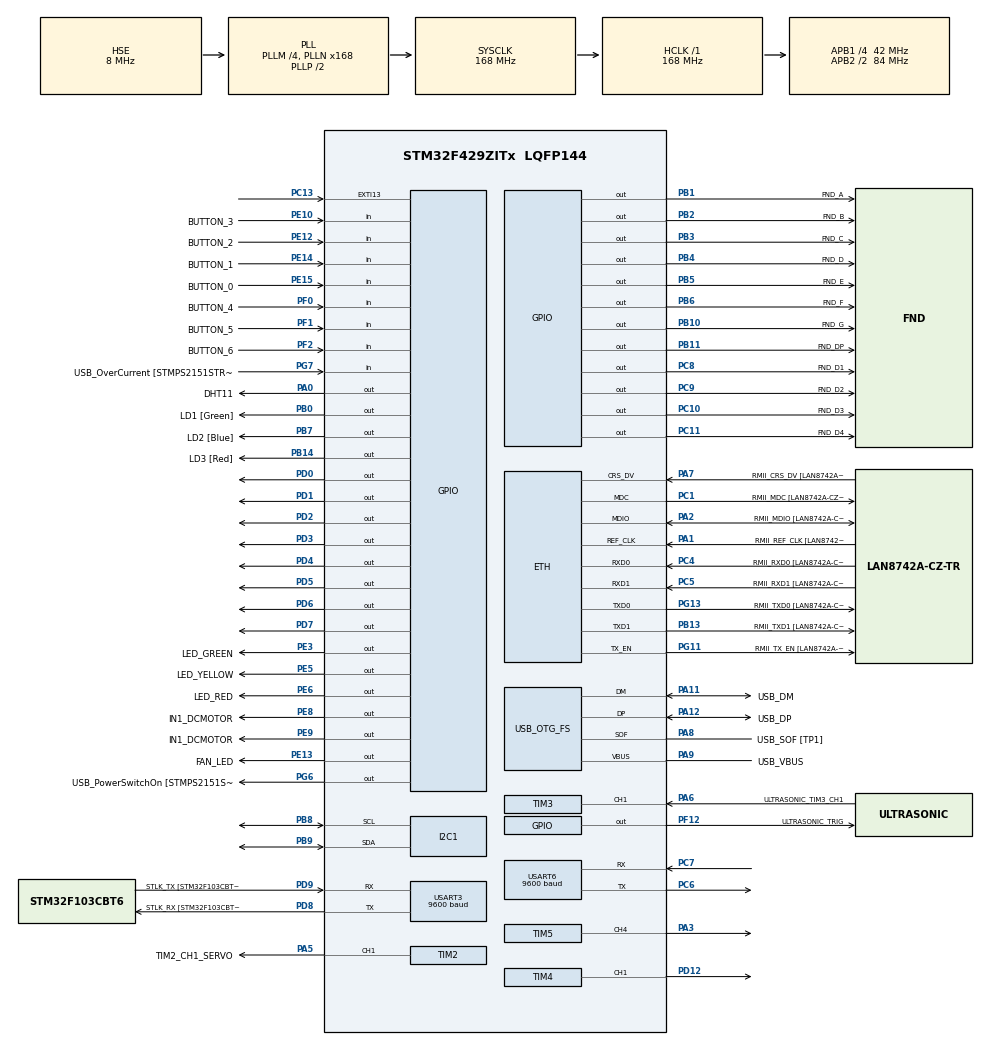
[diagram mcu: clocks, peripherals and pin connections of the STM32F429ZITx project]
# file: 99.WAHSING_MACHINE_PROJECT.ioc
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ETH.MediaInterface=HAL_ETH_RMII_MODE
Mcu.Family=STM32F4
Mcu.Name=STM32F429ZITx
Mcu.Package=LQFP144
NVIC.PriorityGroup=NVIC_PRIORITYGROUP_4
NVIC.TIM1_TRG_COM_TIM11_IRQn=true\:0\:0\:false\:false\:true\:true\:true\:true
NVIC.TIM1_UP_TIM10_IRQn=true\:0\:0\:false\:false\:true\:true\:true\:true
NVIC.TIM2_IRQn=true\:0\:0\:false\:false\:true\:true\:true\:true
NVIC.TIM3_IRQn=true\:0\:0\:false\:false\:true\:true\:true\:true
NVIC.TIM4_IRQn=true\:0\:0\:false\:false\:true\:true\:true\:true
NVIC.TIM5_IRQn=true\:0\:0\:false\:false\:true\:true\:true\:true
NVIC.TIM8_UP_TIM13_IRQn=true\:0\:0\:false\:false\:true\:true\:true\:true
NVIC.USART3_IRQn=true\:0\:0\:false\:false\:true\:true\:true\:true
NVIC.USART6_IRQn=true\:0\:0\:false\:false\:true\:true\:true\:true
PA0/WKUP.GPIO_Label=DHT11
PA0/WKUP.Signal=GPIO_Output
PA1.GPIO_Label=RMII_REF_CLK [LAN8742A-CZ-TR_REFCLK0]
PA1.Mode=RMII
PA1.Signal=ETH_REF_CLK
PA10.GPIO_Label=USB_ID
PA10.Signal=USB_OTG_FS_ID
PA11.GPIO_Label=USB_DM
PA11.Mode=Device_Only
PA11.Signal=USB_OTG_FS_DM
PA12.GPIO_Label=USB_DP
PA12.Mode=Device_Only
PA12.Signal=USB_OTG_FS_DP
PA13.GPIO_Label=TMS
PA13.Mode=Serial_Wire
PA13.Signal=SYS_JTMS-SWDIO
PA14.GPIO_Label=TCK
PA14.Mode=Serial_Wire
PA14.Signal=SYS_JTCK-SWCLK
PA2.GPIO_Label=RMII_MDIO [LAN8742A-CZ-TR_MDIO]
PA2.Mode=RMII
PA2.Signal=ETH_MDIO
PA3.Signal=S_TIM5_CH4
PA5.GPIO_Label=TIM2_CH1_SERVO
PA5.Signal=S_TIM2_CH1_ETR
PA6.GPIO_Label=ULTRASONIC_TIM3_CH1
PA6.Signal=S_TIM3_CH1
PA7.GPIO_Label=RMII_CRS_DV [LAN8742A-CZ-TR_CRS_DV]
PA7.Mode=RMII
PA7.Signal=ETH_CRS_DV
PA8.GPIO_Label=USB_SOF [TP1]
PA8.Mode=Activate_SOF_FS
PA8.Signal=USB_OTG_FS_SOF
PA9.GPIO_Label=USB_VBUS
PA9.Mode=Activate_VBUS
PA9.Signal=USB_OTG_FS_VBUS
PB0.GPIO_Label=LD1 [Green]
PB0.Signal=GPIO_Output
PB1.GPIO_Label=FND_A
PB1.Signal=GPIO_Output
PB10.GPIO_Label=FND_G
PB10.Signal=GPIO_Output
PB11.GPIO_Label=FND_DP
PB11.Signal=GPIO_Output
PB13.GPIO_Label=RMII_TXD1 [LAN8742A-CZ-TR_TXD1]
PB13.Mode=RMII
PB13.Signal=ETH_TXD1
PB14.GPIO_Label=LD3 [Red]
PB14.Signal=GPIO_Output
PB2/BOOT1.GPIO_Label=FND_B
PB2/BOOT1.Signal=GPIO_Output
PB3.GPIO_Label=FND_C
PB3.Signal=GPIO_Output
PB4.GPIO_Label=FND_D
PB4.Signal=GPIO_Output
PB5.GPIO_Label=FND_E
PB5.Signal=GPIO_Output
PB6.GPIO_Label=FND_F
PB6.Signal=GPIO_Output
PB7.GPIO_Label=LD2 [Blue]
PB7.Signal=GPIO_Output
PB8.Mode=I2C
PB8.Signal=I2C1_SCL
PB9.Mode=I2C
PB9.Signal=I2C1_SDA
PC1.GPIO_Label=RMII_MDC [LAN8742A-CZ-TR_MDC]
PC1.Mode=RMII
PC1.Signal=ETH_MDC
PC10.GPIO_Label=FND_D3
PC10.Signal=GPIO_Output
PC11.GPIO_Label=FND_D4
PC11.Signal=GPIO_Output
PC13.Signal=GPXTI13
PC14/OSC32_IN.Mode=LSE-External-Oscillator
PC14/OSC32_IN.Signal=RCC_OSC32_IN
PC15/OSC32_OUT.Mode=LSE-External-Oscillator
PC15/OSC32_OUT.Signal=RCC_OSC32_OUT
PC4.GPIO_Label=RMII_RXD0 [LAN8742A-CZ-TR_RXD0]
PC4.Mode=RMII
PC4.Signal=ETH_RXD0
PC5.GPIO_Label=RMII_RXD1 [LAN8742A-CZ-TR_RXD1]
PC5.Mode=RMII
PC5.Signal=ETH_RXD1
PC6.Mode=Asynchronous
PC6.Signal=USART6_TX
PC7.Mode=Asynchronous
PC7.Signal=USART6_RX
PC8.GPIO_Label=FND_D1
PC8.Signal=GPIO_Output
PC9.GPIO_Label=FND_D2
PC9.Signal=GPIO_Output
PD0.Signal=GPIO_Output
PD1.Signal=GPIO_Output
PD12.Signal=S_TIM4_CH1
PD2.Signal=GPIO_Output
PD3.Signal=GPIO_Output
PD4.Signal=GPIO_Output
PD5.Signal=GPIO_Output
PD6.Signal=GPIO_Output
PD7.Signal=GPIO_Output
PD8.GPIO_Label=STLK_RX [STM32F103CBT6_PA3]
PD8.Mode=Asynchronous
PD8.Signal=USART3_TX
PD9.GPIO_Label=STLK_TX [STM32F103CBT6_PA2]
PD9.Mode=Asynchronous
PD9.Signal=USART3_RX
PE10.GPIO_Label=BUTTON_3
PE10.Signal=GPIO_Input
PE12.GPIO_Label=BUTTON_2
PE12.Signal=GPIO_Input
PE13.GPIO_Label=FAN_LED
PE13.Signal=GPIO_Output
PE14.GPIO_Label=BUTTON_1
PE14.Signal=GPIO_Input
PE15.GPIO_Label=BUTTON_0
PE15.Signal=GPIO_Input
PE3.GPIO_Label=LED_GREEN
PE3.Signal=GPIO_Output
PE5.GPIO_Label=LED_YELLOW
PE5.Signal=GPIO_Output
PE6.GPIO_Label=LED_RED
PE6.Signal=GPIO_Output
PE8.GPIO_Label=IN1_DCMOTOR
PE8.Signal=GPIO_Output
PE9.GPIO_Label=IN1_DCMOTOR
PE9.Signal=GPIO_Output
PF0.GPIO_Label=BUTTON_4
PF0.Signal=GPIO_Input
PF1.GPIO_Label=BUTTON_5
PF1.Signal=GPIO_Input
PF12.GPIO_Label=ULTRASONIC_TRIG
PF12.Signal=GPIO_Output
PF2.GPIO_Label=BUTTON_6
PF2.Signal=GPIO_Input
PG11.GPIO_Label=RMII_TX_EN [LAN8742A-CZ-TR_TXEN]
PG11.Mode=RMII
PG11.Signal=ETH_TX_EN
PG13.GPIO_Label=RMII_TXD0 [LAN8742A-CZ-TR_TXD0]
PG13.Mode=RMII
PG13.Signal=ETH_TXD0
PG6.GPIO_Label=USB_PowerSwitchOn [STMPS2151STR_EN]
PG6.Signal=GPIO_Output
PG7.GPIO_Label=USB_OverCurrent [STMPS2151STR_FAULT]
PG7.Signal=GPIO_Input
PH0/OSC_IN.GPIO_Label=MCO [STM32F103CBT6_PA8]
PH0/OSC_IN.Mode=HSE-External-Clock-Source
PH0/OSC_IN.Signal=RCC_OSC_IN
PH1/OSC_OUT.Mode=HSE-External-Clock-Source
PH1/OSC_OUT.Signal=RCC_OSC_OUT
ProjectManager.HeapSize=0x200
ProjectManager.StackSize=0x400
ProjectManager.TargetToolchain=STM32CubeIDE
RCC.48MHZClocksFreq_Value=48000000
RCC.AHBFreq_Value=168000000
RCC.APB1CLKDivider=RCC_HCLK_DIV4
RCC.APB1Freq_Value=42000000
RCC.APB1TimFreq_Value=84000000
RCC.APB2CLKDivider=RCC_HCLK_DIV2
RCC.APB2Freq_Value=84000000
RCC.APB2TimCLKDivider=2
RCC.APB2TimFreq_Value=168000000
RCC.CortexFreq_Value=168000000
RCC.HCLKFreq_Value=168000000
RCC.HSE_VALUE=8000000
RCC.HSI_VALUE=16000000
RCC.PLLM=4
RCC.PLLMUL=RCC_PLL_MUL9
RCC.PLLN=168
RCC.PLLQ=7
RCC.PRESCALERUSB=RCC_USBCLKSOURCE_PLL_DIV1_5
RCC.SYSCLKFreq_VALUE=168000000
RCC.SYSCLKSource=RCC_SYSCLKSOURCE_PLLCLK
RCC.SYSCLKSourceVirtual=RCC_SYSCLKSOURCE_PLLCLK
RCC.USBFreq_Value=48000000
RCC.VCOOutputFreq_Value=336000000
RTC.Date=16
RTC.Format=RTC_FORMAT_BCD
RTC.Hours=9
RTC.Minutes=40
RTC.Month=RTC_MONTH_OCTOBER
RTC.Seconds=10
RTC.Year=23
SH.S_TIM2_CH1_ETR.0=TIM2_CH1,PWM Generation1 CH1
SH.S_TIM3_CH1.0=TIM3_CH1,Input_Capture1_from_TI1
SH.S_TIM4_CH1.0=TIM4_CH1,PWM Generation1 CH1
SH.S_TIM5_CH4.0=TIM5_CH4,PWM Generation4 CH4
TIM10.Period=10000-1
TIM10.Prescaler=168-1
TIM11.Prescaler=168-1
TIM13.Period=10000-1
TIM13.Prescaler=8400-1
TIM2.Channel-PWM\ Generation1\ CH1=TIM_CHANNEL_1
TIM2.Period=1000-1
TIM2.Prescaler=1680-1
TIM2.Pulse-PWM\ Generation1\ CH1=500-1
TIM3.Channel-Input_Capture1_from_TI1=TIM_CHANNEL_1
TIM3.ICPolarity_CH1=TIM_INPUTCHANNELPOLARITY_BOTHEDGE
TIM3.Prescaler=84-1
TIM4.Channel-PWM\ Generation1\ CH1=TIM_CHANNEL_1
TIM4.OCFastMode_PWM-PWM\ Generation1\ CH1=TIM_OCFAST_ENABLE
TIM4.Period=100-1
TIM4.Prescaler=840-1
TIM4.Pulse-PWM\ Generation1\ CH1=70-1
TIM5.AutoReloadPreload=TIM_AUTORELOAD_PRELOAD_DISABLE
TIM5.Channel-PWM\ Generation4\ CH4=TIM_CHANNEL_4
TIM5.Period=400-1
TIM5.Prescaler=52.5-1
TIM5.Pulse-PWM\ Generation4\ CH4=200-1
USART3.BaudRate=9600
USART3.VirtualMode=VM_ASYNC
USART6.BaudRate=9600
USART6.VirtualMode=VM_ASYNC
USB_OTG_FS.VirtualMode=Device_Only
VP_RTC_VS_RTC_Activate.Mode=RTC_Enabled
VP_RTC_VS_RTC_Calendar.Mode=RTC_Calendar
VP_TIM10_VS_ClockSourceINT.Mode=Enable_Timer
VP_TIM11_VS_ClockSourceINT.Mode=Enable_Timer
VP_TIM13_VS_ClockSourceINT.Mode=Enable_Timer
VP_TIM2_VS_ClockSourceINT.Mode=Internal
VP_TIM4_VS_ClockSourceINT.Mode=Internal
VP_TIM5_VS_ClockSourceINT.Mode=Internal
VP_TIM6_VS_ClockSourceINT.Mode=Enable_Timer
board=NUCLEO-F429ZI

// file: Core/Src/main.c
/* USER CODE BEGIN Header */
/**
  ******************************************************************************
  * @file           : main.c
  * @brief          : Main program body
  ******************************************************************************
  * @attention
  *
  * Copyright (c) 2023 STMicroelectronics.
  * All rights reserved.
  *
  * This software is licensed under terms that can be found in the LICENSE file
  * in the root directory of this software component.
  * If no LICENSE file comes with this software, it is provided AS-IS.
  *
  ******************************************************************************
  */
/* USER CODE END Header */
#include "main.h"
#include "string.h"

ETH_TxPacketConfig TxConfig;
ETH_DMADescTypeDef  DMARxDscrTab[ETH_RX_DESC_CNT]; /* Ethernet Rx DMA Descriptors */
ETH_DMADescTypeDef  DMATxDscrTab[ETH_TX_DESC_CNT]; /* Ethernet Tx DMA Descriptors */

ETH_HandleTypeDef heth;

I2C_HandleTypeDef hi2c1;

RTC_HandleTypeDef hrtc;

TIM_HandleTypeDef htim2;
TIM_HandleTypeDef htim3;
TIM_HandleTypeDef htim4;
TIM_HandleTypeDef htim5;
TIM_HandleTypeDef htim6;
TIM_HandleTypeDef htim10;
TIM_HandleTypeDef htim11;
TIM_HandleTypeDef htim13;

UART_HandleTypeDef huart3;
UART_HandleTypeDef huart6;

PCD_HandleTypeDef hpcd_USB_OTG_FS;

/* USER CODE BEGIN PV */
uint8_t rx_data;// UART Serial -> rx data 1Byte
uint8_t bt_rx_data;//BT -> rx data 1Byte
volatile int TIM10_10ms_counter=0;//TIM10 10ms count
volatile int TIM10_10ms_ultrasonic=0;//TIM10 10ms count for ultrasonic
volatile int count150ms=0;//volatile int TIM11_1us_counter=0;
volatile int second_count=0;
volatile int TIM10_fnd1ms_counter=0;  // for fnd1ms

extern volatile int power_on_flag;
/* USER CODE END PV */

void SystemClock_Config(void);
static void MX_GPIO_Init(void);
static void MX_ETH_Init(void);
static void MX_USART3_UART_Init(void);
static void MX_USB_OTG_FS_PCD_Init(void);
static void MX_USART6_UART_Init(void);
static void MX_TIM10_Init(void);
static void MX_TIM11_Init(void);
static void MX_TIM3_Init(void);
static void MX_I2C1_Init(void);
static void MX_TIM4_Init(void);
static void MX_TIM2_Init(void);
static void MX_RTC_Init(void);
static void MX_TIM5_Init(void);
static void MX_TIM6_Init(void);
static void MX_TIM13_Init(void);
/* USER CODE BEGIN PFP */
//extern void led_main(void);// prototype function define
extern void pc_command_processing(void);	//select washing machine / microwave

extern void DHT11_processing(void);
extern void DHT11_Init(void);

extern void make_trigger(void);
extern void ultrasonic_processing(void);

extern void i2c_lcd_init(void);

//extern void dcmotor_pwm_control(void);
extern void dcmotor_auto_manual_control(void);
extern void servo_motor_test_main(void);

extern void get_rtc_time(void);
extern void set_time_button_ui(void);
extern void lcd_display_mode_select(void);

extern void fnd4digit_main(void);
extern void FND4digit_off(void);

extern void washing_machine_processing(void);

void delay_us(unsigned long us);
/* USER CODE END PFP */

/* USER CODE BEGIN 0 */

//call by SYSTICK_Handler of stm32f4xx_it.c
//Default Timer provided by ARM
//enter here every 1ms
volatile int t1ms_counter=0; //volatile: for disable optimize
void HAL_SYSTICK_Handler(void)//interrupt handler
{
	t1ms_counter++;
	if(power_on_flag)
	{

		TIM10_fnd1ms_counter++;  // fnd1ms
	}
}

//----------  printf start ----------
#ifdef __GNUC__
/* With GCC, small printf (option LD Linker->Libraries->Small printf
   set to 'Yes') calls __io_putchar() */
#define PUTCHAR_PROTOTYPE int __io_putchar(int ch)
#else
#define PUTCHAR_PROTOTYPE int fputc(int ch, FILE *f)
#endif /* __GNUC_ */
/**
  * @brief  Retargets the C library printf function to the USART.
  * @param  None
  * @retval None
  */
PUTCHAR_PROTOTYPE   // Add for printf
{
  /* Place your implementation of fputc here */
  /* e.g. write a character to the USART3 and Loop until the end of transmission */
  HAL_UART_Transmit(&huart3, (uint8_t *)&ch, 1, 0xFFFF);

  return ch;
}
//----------  printf end ----------

//--------------------TIM10 START------------------
//from Driver/stm32f4xx_hal_tim.c -> HAL_TIM_PeriodElapsedCallback() function
//enter here when every timer INT occurs
__weak void HAL_TIM_PeriodElapsedCallback(TIM_HandleTypeDef *htim)
{
	if(htim->Instance==TIM10)
	{
		TIM10_10ms_counter++;//10ms for 1 increase
		TIM10_10ms_ultrasonic++;

		// 10ms for 1 increase ultrasonic trigger timer
	}
	/*
	if(htim->Instance==TIM13)//1sec counter
	{
		if(second_count>0)
		{
			second_count--;
		}
	}
	*/
}
//--------------------TIM10 END------------------

void delay_us(unsigned long us)//Micro Second Delay
{
	__HAL_TIM_SET_COUNTER(&htim11,0);//clear HAL Timer11 to 0

	while(__HAL_TIM_GET_COUNTER(&htim11) < us)
	;
}

/* USER CODE END 0 */

int main(void)
{

  /* MCU Configuration--------------------------------------------------------*/

  /* Reset of all peripherals, Initializes the Flash interface and the Systick. */
  HAL_Init();

  /* Configure the system clock */
  SystemClock_Config();

  /* Initialize all configured peripherals */
  MX_GPIO_Init();
  MX_ETH_Init();
  MX_USART3_UART_Init();
  MX_USB_OTG_FS_PCD_Init();
  MX_USART6_UART_Init();
  MX_TIM10_Init();
  MX_TIM11_Init();
  MX_TIM3_Init();
  MX_I2C1_Init();
  MX_TIM4_Init();
  MX_TIM2_Init();
  MX_RTC_Init();
  MX_TIM5_Init();
  MX_TIM6_Init();
  MX_TIM13_Init();
  /* USER CODE BEGIN 2 */
  HAL_UART_Receive_IT(&huart3, &rx_data, 1);//uart3(UART), To save char when interrupt occur  , 1Byte
  HAL_UART_Receive_IT(&huart6, &bt_rx_data, 1);//uart6(BT),To save char when interrupt occur, 1Byte
  HAL_TIM_Base_Start_IT(&htim10);// Timer10, INT initialize
  HAL_TIM_Base_Start_IT(&htim11);// Timer11, INT initialize
  HAL_TIM_IC_Start_IT(&htim3,TIM_CHANNEL_1);// for count pulse  /  timer3 will detect both rising and falling edge
  HAL_TIM_PWM_Start(&htim2,TIM_CHANNEL_1);	//for servo motor PWM control

//servo_motor_test_main();
//  DHT11_Init();
//  i2c_lcd_init();// if you unusing this device, you should get rid of this code
/*
  HAL_TIM_PWM_Start(&htim5,TIM_CHANNEL_4);	//for buzzer PWM control
  HAL_GPIO_WritePin(GPIOA, GPIO_PIN_3, 0);
  HAL_Delay(5000);
  HAL_TIM_PWM_Stop(&htim5,TIM_CHANNEL_4);	//for buzzer PWM control
*/
  /* USER CODE END 2 */

  /* Infinite loop */
  /* USER CODE BEGIN WHILE */
  while (1)
  {
	  washing_machine_processing();
/*
	  pc_command_processing();
	  ultrasonic_processing();
	  get_rtc_time();
	  lcd_display_mode_select();
*/

//	  printf("1134\n");
//	  HAL_Delay(100);
    /* USER CODE END WHILE */

  }
}

void SystemClock_Config(void)
{
  RCC_OscInitTypeDef RCC_OscInitStruct = {0};
  RCC_ClkInitTypeDef RCC_ClkInitStruct = {0};

  /** Configure the main internal regulator output voltage
  */
  __HAL_RCC_PWR_CLK_ENABLE();
  __HAL_PWR_VOLTAGESCALING_CONFIG(PWR_REGULATOR_VOLTAGE_SCALE1);

  /** Initializes the RCC Oscillators according to the specified parameters
  * in the RCC_OscInitTypeDef structure.
  */
  RCC_OscInitStruct.OscillatorType = RCC_OSCILLATORTYPE_LSI|RCC_OSCILLATORTYPE_HSE;
  RCC_OscInitStruct.HSEState = RCC_HSE_BYPASS;
  RCC_OscInitStruct.LSIState = RCC_LSI_ON;
  RCC_OscInitStruct.PLL.PLLState = RCC_PLL_ON;
  RCC_OscInitStruct.PLL.PLLSource = RCC_PLLSOURCE_HSE;
  RCC_OscInitStruct.PLL.PLLM = 4;
  RCC_OscInitStruct.PLL.PLLN = 168;
  RCC_OscInitStruct.PLL.PLLP = RCC_PLLP_DIV2;
  RCC_OscInitStruct.PLL.PLLQ = 7;
  if (HAL_RCC_OscConfig(&RCC_OscInitStruct) != HAL_OK)
  {
    Error_Handler();
  }

  /** Initializes the CPU, AHB and APB buses clocks
  */
  RCC_ClkInitStruct.ClockType = RCC_CLOCKTYPE_HCLK|RCC_CLOCKTYPE_SYSCLK
                              |RCC_CLOCKTYPE_PCLK1|RCC_CLOCKTYPE_PCLK2;
  RCC_ClkInitStruct.SYSCLKSource = RCC_SYSCLKSOURCE_PLLCLK;
  RCC_ClkInitStruct.AHBCLKDivider = RCC_SYSCLK_DIV1;
  RCC_ClkInitStruct.APB1CLKDivider = RCC_HCLK_DIV4;
  RCC_ClkInitStruct.APB2CLKDivider = RCC_HCLK_DIV2;

  if (HAL_RCC_ClockConfig(&RCC_ClkInitStruct, FLASH_LATENCY_5) != HAL_OK)
  {
    Error_Handler();
  }
}

static void MX_ETH_Init(void)
{

   static uint8_t MACAddr[6];

  heth.Instance = ETH;
  MACAddr[0] = 0x00;
  MACAddr[1] = 0x80;
  MACAddr[2] = 0xE1;
  MACAddr[3] = 0x00;
  MACAddr[4] = 0x00;
  MACAddr[5] = 0x00;
  heth.Init.MACAddr = &MACAddr[0];
  heth.Init.MediaInterface = HAL_ETH_RMII_MODE;
  heth.Init.TxDesc = DMATxDscrTab;
  heth.Init.RxDesc = DMARxDscrTab;
  heth.Init.RxBuffLen = 1524;

  if (HAL_ETH_Init(&heth) != HAL_OK)
  {
    Error_Handler();
  }

  memset(&TxConfig, 0 , sizeof(ETH_TxPacketConfig));
  TxConfig.Attributes = ETH_TX_PACKETS_FEATURES_CSUM | ETH_TX_PACKETS_FEATURES_CRCPAD;
  TxConfig.ChecksumCtrl = ETH_CHECKSUM_IPHDR_PAYLOAD_INSERT_PHDR_CALC;
  TxConfig.CRCPadCtrl = ETH_CRC_PAD_INSERT;

}

static void MX_I2C1_Init(void)
{

  hi2c1.Instance = I2C1;
  hi2c1.Init.ClockSpeed = 100000;
  hi2c1.Init.DutyCycle = I2C_DUTYCYCLE_2;
  hi2c1.Init.OwnAddress1 = 0;
  hi2c1.Init.AddressingMode = I2C_ADDRESSINGMODE_7BIT;
  hi2c1.Init.DualAddressMode = I2C_DUALADDRESS_DISABLE;
  hi2c1.Init.OwnAddress2 = 0;
  hi2c1.Init.GeneralCallMode = I2C_GENERALCALL_DISABLE;
  hi2c1.Init.NoStretchMode = I2C_NOSTRETCH_DISABLE;
  if (HAL_I2C_Init(&hi2c1) != HAL_OK)
  {
    Error_Handler();
  }

  /** Configure Analogue filter
  */
  if (HAL_I2CEx_ConfigAnalogFilter(&hi2c1, I2C_ANALOGFILTER_ENABLE) != HAL_OK)
  {
    Error_Handler();
  }

  /** Configure Digital filter
  */
  if (HAL_I2CEx_ConfigDigitalFilter(&hi2c1, 0) != HAL_OK)
  {
    Error_Handler();
  }

}

static void MX_RTC_Init(void)
{

  RTC_TimeTypeDef sTime = {0};
  RTC_DateTypeDef sDate = {0};

  /** Initialize RTC Only
  */
  hrtc.Instance = RTC;
  hrtc.Init.HourFormat = RTC_HOURFORMAT_24;
  hrtc.Init.AsynchPrediv = 127;
  hrtc.Init.SynchPrediv = 255;
  hrtc.Init.OutPut = RTC_OUTPUT_DISABLE;
  hrtc.Init.OutPutPolarity = RTC_OUTPUT_POLARITY_HIGH;
  hrtc.Init.OutPutType = RTC_OUTPUT_TYPE_OPENDRAIN;
  if (HAL_RTC_Init(&hrtc) != HAL_OK)
  {
    Error_Handler();
  }

  /** Initialize RTC and set the Time and Date
  */
  sTime.Hours = 0x9;
  sTime.Minutes = 0x40;
  sTime.Seconds = 0x10;
  sTime.DayLightSaving = RTC_DAYLIGHTSAVING_NONE;
  sTime.StoreOperation = RTC_STOREOPERATION_RESET;
  if (HAL_RTC_SetTime(&hrtc, &sTime, RTC_FORMAT_BCD) != HAL_OK)
  {
    Error_Handler();
  }
  sDate.WeekDay = RTC_WEEKDAY_MONDAY;
  sDate.Month = RTC_MONTH_OCTOBER;
  sDate.Date = 0x16;
  sDate.Year = 0x23;

  if (HAL_RTC_SetDate(&hrtc, &sDate, RTC_FORMAT_BCD) != HAL_OK)
  {
    Error_Handler();
  }

}

static void MX_TIM2_Init(void)
{

  TIM_ClockConfigTypeDef sClockSourceConfig = {0};
  TIM_MasterConfigTypeDef sMasterConfig = {0};
  TIM_OC_InitTypeDef sConfigOC = {0};

  htim2.Instance = TIM2;
  htim2.Init.Prescaler = 1680-1;
  htim2.Init.CounterMode = TIM_COUNTERMODE_UP;
  htim2.Init.Period = 1000-1;
  htim2.Init.ClockDivision = TIM_CLOCKDIVISION_DIV1;
  htim2.Init.AutoReloadPreload = TIM_AUTORELOAD_PRELOAD_DISABLE;
  if (HAL_TIM_Base_Init(&htim2) != HAL_OK)
  {
    Error_Handler();
  }
  sClockSourceConfig.ClockSource = TIM_CLOCKSOURCE_INTERNAL;
  if (HAL_TIM_ConfigClockSource(&htim2, &sClockSourceConfig) != HAL_OK)
  {
    Error_Handler();
  }
  if (HAL_TIM_PWM_Init(&htim2) != HAL_OK)
  {
    Error_Handler();
  }
  sMasterConfig.MasterOutputTrigger = TIM_TRGO_RESET;
  sMasterConfig.MasterSlaveMode = TIM_MASTERSLAVEMODE_DISABLE;
  if (HAL_TIMEx_MasterConfigSynchronization(&htim2, &sMasterConfig) != HAL_OK)
  {
    Error_Handler();
  }
  sConfigOC.OCMode = TIM_OCMODE_PWM1;
  sConfigOC.Pulse = 500-1;
  sConfigOC.OCPolarity = TIM_OCPOLARITY_HIGH;
  sConfigOC.OCFastMode = TIM_OCFAST_DISABLE;
  if (HAL_TIM_PWM_ConfigChannel(&htim2, &sConfigOC, TIM_CHANNEL_1) != HAL_OK)
  {
    Error_Handler();
  }
  HAL_TIM_MspPostInit(&htim2);

}

static void MX_TIM3_Init(void)
{

  TIM_MasterConfigTypeDef sMasterConfig = {0};
  TIM_IC_InitTypeDef sConfigIC = {0};

  htim3.Instance = TIM3;
  htim3.Init.Prescaler = 84-1;
  htim3.Init.CounterMode = TIM_COUNTERMODE_UP;
  htim3.Init.Period = 65535;
  htim3.Init.ClockDivision = TIM_CLOCKDIVISION_DIV1;
  htim3.Init.AutoReloadPreload = TIM_AUTORELOAD_PRELOAD_DISABLE;
  if (HAL_TIM_IC_Init(&htim3) != HAL_OK)
  {
    Error_Handler();
  }
  sMasterConfig.MasterOutputTrigger = TIM_TRGO_RESET;
  sMasterConfig.MasterSlaveMode = TIM_MASTERSLAVEMODE_DISABLE;
  if (HAL_TIMEx_MasterConfigSynchronization(&htim3, &sMasterConfig) != HAL_OK)
  {
    Error_Handler();
  }
  sConfigIC.ICPolarity = TIM_INPUTCHANNELPOLARITY_BOTHEDGE;
  sConfigIC.ICSelection = TIM_ICSELECTION_DIRECTTI;
  sConfigIC.ICPrescaler = TIM_ICPSC_DIV1;
  sConfigIC.ICFilter = 0;
  if (HAL_TIM_IC_ConfigChannel(&htim3, &sConfigIC, TIM_CHANNEL_1) != HAL_OK)
  {
    Error_Handler();
  }

}

static void MX_TIM4_Init(void)
{

  TIM_ClockConfigTypeDef sClockSourceConfig = {0};
  TIM_MasterConfigTypeDef sMasterConfig = {0};
  TIM_OC_InitTypeDef sConfigOC = {0};

  htim4.Instance = TIM4;
  htim4.Init.Prescaler = 840-1;
  htim4.Init.CounterMode = TIM_COUNTERMODE_UP;
  htim4.Init.Period = 100-1;
  htim4.Init.ClockDivision = TIM_CLOCKDIVISION_DIV1;
  htim4.Init.AutoReloadPreload = TIM_AUTORELOAD_PRELOAD_DISABLE;
  if (HAL_TIM_Base_Init(&htim4) != HAL_OK)
  {
    Error_Handler();
  }
  sClockSourceConfig.ClockSource = TIM_CLOCKSOURCE_INTERNAL;
  if (HAL_TIM_ConfigClockSource(&htim4, &sClockSourceConfig) != HAL_OK)
  {
    Error_Handler();
  }
  if (HAL_TIM_PWM_Init(&htim4) != HAL_OK)
  {
    Error_Handler();
  }
  sMasterConfig.MasterOutputTrigger = TIM_TRGO_RESET;
  sMasterConfig.MasterSlaveMode = TIM_MASTERSLAVEMODE_DISABLE;
  if (HAL_TIMEx_MasterConfigSynchronization(&htim4, &sMasterConfig) != HAL_OK)
  {
    Error_Handler();
  }
  sConfigOC.OCMode = TIM_OCMODE_PWM1;
  sConfigOC.Pulse = 70-1;
  sConfigOC.OCPolarity = TIM_OCPOLARITY_HIGH;
  sConfigOC.OCFastMode = TIM_OCFAST_ENABLE;
  if (HAL_TIM_PWM_ConfigChannel(&htim4, &sConfigOC, TIM_CHANNEL_1) != HAL_OK)
  {
    Error_Handler();
  }
  HAL_TIM_MspPostInit(&htim4);

}

static void MX_TIM5_Init(void)
{

  TIM_ClockConfigTypeDef sClockSourceConfig = {0};
  TIM_MasterConfigTypeDef sMasterConfig = {0};
  TIM_OC_InitTypeDef sConfigOC = {0};

  htim5.Instance = TIM5;
  htim5.Init.Prescaler = 52.5-1;
  htim5.Init.CounterMode = TIM_COUNTERMODE_UP;
  htim5.Init.Period = 400-1;
  htim5.Init.ClockDivision = TIM_CLOCKDIVISION_DIV1;
  htim5.Init.AutoReloadPreload = TIM_AUTORELOAD_PRELOAD_DISABLE;
  if (HAL_TIM_Base_Init(&htim5) != HAL_OK)
  {
    Error_Handler();
  }
  sClockSourceConfig.ClockSource = TIM_CLOCKSOURCE_INTERNAL;
  if (HAL_TIM_ConfigClockSource(&htim5, &sClockSourceConfig) != HAL_OK)
  {
    Error_Handler();
  }
  if (HAL_TIM_PWM_Init(&htim5) != HAL_OK)
  {
    Error_Handler();
  }
  sMasterConfig.MasterOutputTrigger = TIM_TRGO_RESET;
  sMasterConfig.MasterSlaveMode = TIM_MASTERSLAVEMODE_DISABLE;
  if (HAL_TIMEx_MasterConfigSynchronization(&htim5, &sMasterConfig) != HAL_OK)
  {
    Error_Handler();
  }
  sConfigOC.OCMode = TIM_OCMODE_PWM1;
  sConfigOC.Pulse = 200-1;
  sConfigOC.OCPolarity = TIM_OCPOLARITY_HIGH;
  sConfigOC.OCFastMode = TIM_OCFAST_DISABLE;
  if (HAL_TIM_PWM_ConfigChannel(&htim5, &sConfigOC, TIM_CHANNEL_4) != HAL_OK)
  {
    Error_Handler();
  }
  HAL_TIM_MspPostInit(&htim5);

}

static void MX_TIM6_Init(void)
{

  TIM_MasterConfigTypeDef sMasterConfig = {0};

  htim6.Instance = TIM6;
  htim6.Init.Prescaler = 0;
  htim6.Init.CounterMode = TIM_COUNTERMODE_UP;
  htim6.Init.Period = 65535;
  htim6.Init.AutoReloadPreload = TIM_AUTORELOAD_PRELOAD_DISABLE;
  if (HAL_TIM_Base_Init(&htim6) != HAL_OK)
  {
    Error_Handler();
  }
  sMasterConfig.MasterOutputTrigger = TIM_TRGO_RESET;
  sMasterConfig.MasterSlaveMode = TIM_MASTERSLAVEMODE_DISABLE;
  if (HAL_TIMEx_MasterConfigSynchronization(&htim6, &sMasterConfig) != HAL_OK)
  {
    Error_Handler();
  }

}

static void MX_TIM10_Init(void)
{

  htim10.Instance = TIM10;
  htim10.Init.Prescaler = 168-1;
  htim10.Init.CounterMode = TIM_COUNTERMODE_UP;
  htim10.Init.Period = 10000-1;
  htim10.Init.ClockDivision = TIM_CLOCKDIVISION_DIV1;
  htim10.Init.AutoReloadPreload = TIM_AUTORELOAD_PRELOAD_DISABLE;
  if (HAL_TIM_Base_Init(&htim10) != HAL_OK)
  {
    Error_Handler();
  }

}

static void MX_TIM11_Init(void)
{

  htim11.Instance = TIM11;
  htim11.Init.Prescaler = 168-1;
  htim11.Init.CounterMode = TIM_COUNTERMODE_UP;
  htim11.Init.Period = 65535;
  htim11.Init.ClockDivision = TIM_CLOCKDIVISION_DIV1;
  htim11.Init.AutoReloadPreload = TIM_AUTORELOAD_PRELOAD_DISABLE;
  if (HAL_TIM_Base_Init(&htim11) != HAL_OK)
  {
    Error_Handler();
  }

}

static void MX_TIM13_Init(void)
{

  htim13.Instance = TIM13;
  htim13.Init.Prescaler = 8400-1;
  htim13.Init.CounterMode = TIM_COUNTERMODE_UP;
  htim13.Init.Period = 10000-1;
  htim13.Init.ClockDivision = TIM_CLOCKDIVISION_DIV1;
  htim13.Init.AutoReloadPreload = TIM_AUTORELOAD_PRELOAD_DISABLE;
  if (HAL_TIM_Base_Init(&htim13) != HAL_OK)
  {
    Error_Handler();
  }

}

static void MX_USART3_UART_Init(void)
{

  huart3.Instance = USART3;
  huart3.Init.BaudRate = 9600;
  huart3.Init.WordLength = UART_WORDLENGTH_8B;
  huart3.Init.StopBits = UART_STOPBITS_1;
  huart3.Init.Parity = UART_PARITY_NONE;
  huart3.Init.Mode = UART_MODE_TX_RX;
  huart3.Init.HwFlowCtl = UART_HWCONTROL_NONE;
  huart3.Init.OverSampling = UART_OVERSAMPLING_16;
  if (HAL_UART_Init(&huart3) != HAL_OK)
  {
    Error_Handler();
  }

}

static void MX_USART6_UART_Init(void)
{

  huart6.Instance = USART6;
  huart6.Init.BaudRate = 9600;
  huart6.Init.WordLength = UART_WORDLENGTH_8B;
  huart6.Init.StopBits = UART_STOPBITS_1;
  huart6.Init.Parity = UART_PARITY_NONE;
  huart6.Init.Mode = UART_MODE_TX_RX;
  huart6.Init.HwFlowCtl = UART_HWCONTROL_NONE;
  huart6.Init.OverSampling = UART_OVERSAMPLING_16;
  if (HAL_UART_Init(&huart6) != HAL_OK)
  {
    Error_Handler();
  }

}

static void MX_USB_OTG_FS_PCD_Init(void)
{

  hpcd_USB_OTG_FS.Instance = USB_OTG_FS;
  hpcd_USB_OTG_FS.Init.dev_endpoints = 4;
  hpcd_USB_OTG_FS.Init.speed = PCD_SPEED_FULL;
  hpcd_USB_OTG_FS.Init.dma_enable = DISABLE;
  hpcd_USB_OTG_FS.Init.phy_itface = PCD_PHY_EMBEDDED;
  hpcd_USB_OTG_FS.Init.Sof_enable = ENABLE;
  hpcd_USB_OTG_FS.Init.low_power_enable = DISABLE;
  hpcd_USB_OTG_FS.Init.lpm_enable = DISABLE;
  hpcd_USB_OTG_FS.Init.vbus_sensing_enable = ENABLE;
  hpcd_USB_OTG_FS.Init.use_dedicated_ep1 = DISABLE;
  if (HAL_PCD_Init(&hpcd_USB_OTG_FS) != HAL_OK)
  {
    Error_Handler();
  }

}

static void MX_GPIO_Init(void)
{
  GPIO_InitTypeDef GPIO_InitStruct = {0};

  /* GPIO Ports Clock Enable */
  __HAL_RCC_GPIOE_CLK_ENABLE();
  __HAL_RCC_GPIOC_CLK_ENABLE();
  __HAL_RCC_GPIOF_CLK_ENABLE();
  __HAL_RCC_GPIOH_CLK_ENABLE();
  __HAL_RCC_GPIOA_CLK_ENABLE();
  __HAL_RCC_GPIOB_CLK_ENABLE();
  __HAL_RCC_GPIOD_CLK_ENABLE();
  __HAL_RCC_GPIOG_CLK_ENABLE();

  /*Configure GPIO pin Output Level */
  HAL_GPIO_WritePin(GPIOE, LED_GREEN_Pin|LED_YELLOW_Pin|LED_RED_Pin|IN1_DCMOTOR_Pin
                          |IN1_DCMOTORE9_Pin|FAN_LED_Pin, GPIO_PIN_RESET);

  /*Configure GPIO pin Output Level */
  HAL_GPIO_WritePin(DHT11_GPIO_Port, DHT11_Pin, GPIO_PIN_RESET);

  /*Configure GPIO pin Output Level */
  HAL_GPIO_WritePin(GPIOB, LD1_Pin|FND_A_Pin|FND_B_Pin|FND_G_Pin
                          |FND_DP_Pin|LD3_Pin|FND_C_Pin|FND_D_Pin
                          |FND_E_Pin|FND_F_Pin|LD2_Pin, GPIO_PIN_RESET);

  /*Configure GPIO pin Output Level */
  HAL_GPIO_WritePin(ULTRASONIC_TRIG_GPIO_Port, ULTRASONIC_TRIG_Pin, GPIO_PIN_RESET);

  /*Configure GPIO pin Output Level */
  HAL_GPIO_WritePin(USB_PowerSwitchOn_GPIO_Port, USB_PowerSwitchOn_Pin, GPIO_PIN_RESET);

  /*Configure GPIO pin Output Level */
  HAL_GPIO_WritePin(GPIOC, FND_D1_Pin|FND_D2_Pin|FND_D3_Pin|FND_D4_Pin, GPIO_PIN_RESET);

  /*Configure GPIO pin Output Level */
  HAL_GPIO_WritePin(GPIOD, GPIO_PIN_0|GPIO_PIN_1|GPIO_PIN_2|GPIO_PIN_3
                          |GPIO_PIN_4|GPIO_PIN_5|GPIO_PIN_6|GPIO_PIN_7, GPIO_PIN_RESET);

  /*Configure GPIO pins : LED_GREEN_Pin LED_YELLOW_Pin LED_RED_Pin IN1_DCMOTOR_Pin
                           IN1_DCMOTORE9_Pin FAN_LED_Pin */
  GPIO_InitStruct.Pin = LED_GREEN_Pin|LED_YELLOW_Pin|LED_RED_Pin|IN1_DCMOTOR_Pin
                          |IN1_DCMOTORE9_Pin|FAN_LED_Pin;
  GPIO_InitStruct.Mode = GPIO_MODE_OUTPUT_PP;
  GPIO_InitStruct.Pull = GPIO_NOPULL;
  GPIO_InitStruct.Speed = GPIO_SPEED_FREQ_LOW;
  HAL_GPIO_Init(GPIOE, &GPIO_InitStruct);

  /*Configure GPIO pin : PC13 */
  GPIO_InitStruct.Pin = GPIO_PIN_13;
  GPIO_InitStruct.Mode = GPIO_MODE_IT_RISING;
  GPIO_InitStruct.Pull = GPIO_NOPULL;
  HAL_GPIO_Init(GPIOC, &GPIO_InitStruct);

  /*Configure GPIO pins : BUTTON_4_Pin BUTTON_5_Pin BUTTON_6_Pin */
  GPIO_InitStruct.Pin = BUTTON_4_Pin|BUTTON_5_Pin|BUTTON_6_Pin;
  GPIO_InitStruct.Mode = GPIO_MODE_INPUT;
  GPIO_InitStruct.Pull = GPIO_NOPULL;
  HAL_GPIO_Init(GPIOF, &GPIO_InitStruct);

  /*Configure GPIO pin : DHT11_Pin */
  GPIO_InitStruct.Pin = DHT11_Pin;
  GPIO_InitStruct.Mode = GPIO_MODE_OUTPUT_PP;
  GPIO_InitStruct.Pull = GPIO_NOPULL;
  GPIO_InitStruct.Speed = GPIO_SPEED_FREQ_LOW;
  HAL_GPIO_Init(DHT11_GPIO_Port, &GPIO_InitStruct);

  /*Configure GPIO pins : LD1_Pin FND_A_Pin FND_B_Pin FND_G_Pin
                           FND_DP_Pin LD3_Pin FND_C_Pin FND_D_Pin
                           FND_E_Pin FND_F_Pin LD2_Pin */
  GPIO_InitStruct.Pin = LD1_Pin|FND_A_Pin|FND_B_Pin|FND_G_Pin
                          |FND_DP_Pin|LD3_Pin|FND_C_Pin|FND_D_Pin
                          |FND_E_Pin|FND_F_Pin|LD2_Pin;
  GPIO_InitStruct.Mode = GPIO_MODE_OUTPUT_PP;
  GPIO_InitStruct.Pull = GPIO_NOPULL;
  GPIO_InitStruct.Speed = GPIO_SPEED_FREQ_LOW;
  HAL_GPIO_Init(GPIOB, &GPIO_InitStruct);

  /*Configure GPIO pin : ULTRASONIC_TRIG_Pin */
  GPIO_InitStruct.Pin = ULTRASONIC_TRIG_Pin;
  GPIO_InitStruct.Mode = GPIO_MODE_OUTPUT_PP;
  GPIO_InitStruct.Pull = GPIO_NOPULL;
  GPIO_InitStruct.Speed = GPIO_SPEED_FREQ_LOW;
  HAL_GPIO_Init(ULTRASONIC_TRIG_GPIO_Port, &GPIO_InitStruct);

  /*Configure GPIO pins : BUTTON_3_Pin BUTTON_2_Pin BUTTON_1_Pin BUTTON_0_Pin */
  GPIO_InitStruct.Pin = BUTTON_3_Pin|BUTTON_2_Pin|BUTTON_1_Pin|BUTTON_0_Pin;
  GPIO_InitStruct.Mode = GPIO_MODE_INPUT;
  GPIO_InitStruct.Pull = GPIO_NOPULL;
  HAL_GPIO_Init(GPIOE, &GPIO_InitStruct);

  /*Configure GPIO pin : USB_PowerSwitchOn_Pin */
  GPIO_InitStruct.Pin = USB_PowerSwitchOn_Pin;
  GPIO_InitStruct.Mode = GPIO_MODE_OUTPUT_PP;
  GPIO_InitStruct.Pull = GPIO_NOPULL;
  GPIO_InitStruct.Speed = GPIO_SPEED_FREQ_LOW;
  HAL_GPIO_Init(USB_PowerSwitchOn_GPIO_Port, &GPIO_InitStruct);

  /*Configure GPIO pin : USB_OverCurrent_Pin */
  GPIO_InitStruct.Pin = USB_OverCurrent_Pin;
  GPIO_InitStruct.Mode = GPIO_MODE_INPUT;
  GPIO_InitStruct.Pull = GPIO_NOPULL;
  HAL_GPIO_Init(USB_OverCurrent_GPIO_Port, &GPIO_InitStruct);

  /*Configure GPIO pins : FND_D1_Pin FND_D2_Pin FND_D3_Pin FND_D4_Pin */
  GPIO_InitStruct.Pin = FND_D1_Pin|FND_D2_Pin|FND_D3_Pin|FND_D4_Pin;
  GPIO_InitStruct.Mode = GPIO_MODE_OUTPUT_PP;
  GPIO_InitStruct.Pull = GPIO_NOPULL;
  GPIO_InitStruct.Speed = GPIO_SPEED_FREQ_LOW;
  HAL_GPIO_Init(GPIOC, &GPIO_InitStruct);

  /*Configure GPIO pins : PD0 PD1 PD2 PD3
                           PD4 PD5 PD6 PD7 */
  GPIO_InitStruct.Pin = GPIO_PIN_0|GPIO_PIN_1|GPIO_PIN_2|GPIO_PIN_3
                          |GPIO_PIN_4|GPIO_PIN_5|GPIO_PIN_6|GPIO_PIN_7;
  GPIO_InitStruct.Mode = GPIO_MODE_OUTPUT_PP;
  GPIO_InitStruct.Pull = GPIO_NOPULL;
  GPIO_InitStruct.Speed = GPIO_SPEED_FREQ_LOW;
  HAL_GPIO_Init(GPIOD, &GPIO_InitStruct);

}

void Error_Handler(void)
{
  __disable_irq();
  while (1)
  {
  }
}
